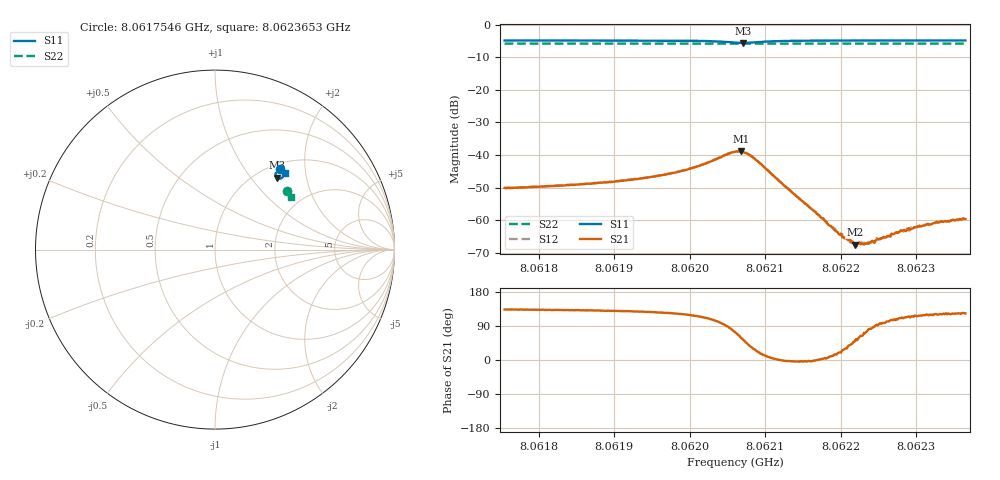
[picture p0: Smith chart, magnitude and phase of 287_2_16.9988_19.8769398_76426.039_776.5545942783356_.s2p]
#  HZ  S  RI  R  50.00
! Rohde & Schwarz Vector Network Analyzer
! Rohde-Schwarz,ZNB20-2Port,1311601062101988,3.16
! Created: UTC 3/20/2024, 11:04:56 PM
! freq[Hz]  re:S11  im:S11  re:S21  im:S21  re:S12  im:S12  re:S22  im:S22
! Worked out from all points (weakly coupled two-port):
!   401 points, 8.0617546 GHz to 8.0623653 GHz, reference 50 ohm
!   highest |S21| = -38.87 dB at 8.0620676 GHz (marker M1); lowest = -67.6 dB at 8.0622188 GHz (marker M2)
!   lowest |S11| = -5.5 dB at 8.0620707 GHz (marker M3), VSWR 3.24, Z = 61.1 + j67.9 ohm
!   |S11| at or under -10 dB: nowhere
!   |S22| runs from -5.8 to -5.7 dB; largest |S21 - S12| = 0.00088
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8.06175464e9  0.3613 0.4483  -0.00213 0.00227  -0.002 0.00238  0.4007 0.3252
8.06185694e9  0.3687 0.442  -0.00235 0.00268  -0.00219 0.00282  0.4046 0.3203
8.061918e9  0.3734 0.4372  -0.00258 0.00321  -0.00243 0.00341  0.407 0.317
8.06195923e9  0.377 0.4324  -0.0028 0.00391  -0.00257 0.00409  0.4085 0.3146
8.06200655e9  0.3813 0.4222  -0.00289 0.00576  -0.00259 0.00598  0.4102 0.312
8.06205999e9  0.3599 0.3948  0.00313 0.0108  0.00389 0.0107  0.4106 0.3085
8.06206762e9  0.3486 0.3975  0.00586 0.00977  0.0064 0.00931  0.4105 0.3084
8.06207068e9  0.3447 0.4003  0.00658 0.00895  0.00709 0.00862  0.4105 0.3084
8.06207678e9  0.3389 0.408  0.00769 0.00696  0.00809 0.0066  0.4105 0.3087
8.06208594e9  0.3373 0.4204  0.00775 0.00419  0.00817 0.00361  0.4109 0.3087
8.06212564e9  0.357 0.4394  0.00333 -0.000131  0.00338 -0.000307  0.4136 0.3074
8.06216228e9  0.3675 0.4384  0.00145 -8.39e-05  0.00141 -0.000124  0.4152 0.3055
8.06219587e9  0.3731 0.4362  0.000621 0.000198  0.000631 0.000167  0.4164 0.3037
8.06220503e9  0.3742 0.4357  0.000457 0.000253  0.000501 0.000209  0.4168 0.3032
8.06221877e9  0.3758 0.4348  0.000273 0.000315  0.000297 0.00027  0.4176 0.3024
8.06222793e9  0.3768 0.4343  0.000194 0.00039  0.000202 0.000407  0.4177 0.302
8.06223404e9  0.3774 0.4338  0.000119 0.000416  0.000119 0.000389  0.4179 0.3016
8.06226457e9  0.3804 0.432  -0.000128 0.000553  -8.81e-05 0.000561  0.4191 0.3002
8.06228137e9  0.3818 0.431  -0.000256 0.000633  -0.000214 0.000654  0.4198 0.2992
8.06230885e9  0.3839 0.4293  -0.000385 0.000723  -0.000332 0.000735  0.4207 0.2978
8.06233022e9  0.3854 0.4281  -0.000463 0.000793  -0.000414 0.000855  0.4215 0.2967
8.06236534e9  0.3879 0.4261  -0.000566 0.000869  -0.000538 0.000882  0.4227 0.2949
